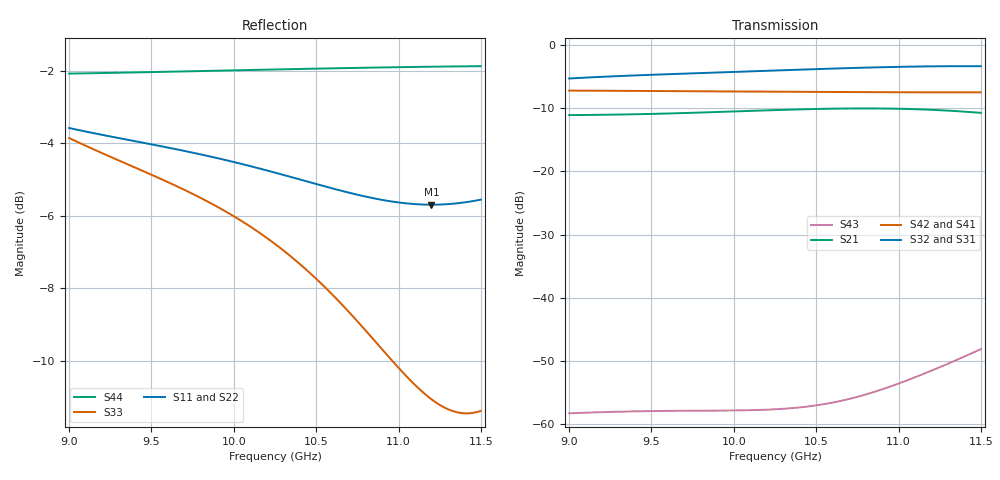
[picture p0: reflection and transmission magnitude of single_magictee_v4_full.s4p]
! Generated from PyAEDT SolutionData; AEDT ExportNetworkData workaround
# GHz S MA R 50
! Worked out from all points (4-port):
!   101 points, 9 GHz to 11.5 GHz, reference 50 ohm
!   strongest paths, dB at 9 GHz, 9.625 GHz, 10.25 GHz, 10.88 GHz, 11.5 GHz:
!     S32: -5.3, -4.6, -4.0, -3.5, -3.4
!     S31: -5.3, -4.6, -4.0, -3.5, -3.3
!     S42: -7.2, -7.3, -7.4, -7.5, -7.5
!     S41: -7.2, -7.3, -7.4, -7.5, -7.6
!     S21: -11.1, -10.8, -10.3, -10.0, -10.7
!     S43: -58.3, -57.9, -57.7, -54.7, -48.1
!   lowest |S11| = -5.7 dB at 11.2 GHz (marker M1), VSWR 3.16, Z = 16.6 + j10.6 ohm
!   |S11| at or under -10 dB: nowhere
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9  0.6622 30.2  0.2789 -76.3  0.5415 -2.2  0.4365 30.7
   0.2789 -76.3  0.661 30.0  0.5435 -2.2  0.4358 -149.2
   0.5415 -2.2  0.5435 -2.2  0.6414 170.2  0.001217 107.5
   0.4365 30.7  0.4358 -149.2  0.001217 107.5  0.7871 -168.5
9.4  0.6351 -17.3  0.2833 -130.6  0.5732 -73.1  0.4335 -12.4
     0.2833 -130.6  0.6337 -17.5  0.5747 -73.0  0.4334 167.6
     0.5732 -73.1  0.5747 -73.0  0.5841 77.8  0.001261 45.5
     0.4335 -12.4  0.4334 167.6  0.001261 45.5  0.7901 153.4
9.725  0.614 -54.6  0.2903 -172.9  0.5943 -128.5  0.4307 -46.3
       0.2903 -172.9  0.6126 -54.8  0.5954 -128.4  0.4312 133.7
       0.5943 -128.5  0.5954 -128.4  0.5407 6.0  0.001276 -2.2
       0.4307 -46.3  0.4312 133.7  0.001276 -2.2  0.7928 123.2
10.05  0.5906 -90.8  0.2997 145.6  0.6152 177.4  0.4278 -79.5
       0.2997 145.6  0.5892 -90.9  0.6157 177.5  0.4288 100.6
       0.6152 177.4  0.6157 177.5  0.4924 -63.8  0.001285 -46.1
       0.4278 -79.5  0.4288 100.6  0.001285 -46.1  0.7957 93.7
10.625  0.5447 -151.4  0.3138 72.5  0.653 83.1  0.4225 -136.5
        0.3138 72.5  0.5433 -151.1  0.6525 83.2  0.425 43.6
        0.653 83.1  0.6525 83.2  0.3846 171.9  0.001503 -111.9
        0.4225 -136.5  0.425 43.6  0.001503 -111.9  0.8005 42.6
11.2  0.5191 153.3  0.3072 0.2  0.6796 -11.9  0.4175 167.8
      0.3072 0.2  0.517 153.9  0.6781 -11.6  0.4225 -12.0
      0.6796 -11.9  0.6781 -11.6  0.2798 32.5  0.00265 -178.9
      0.4175 167.8  0.4225 -12.0  0.00265 -178.9  0.8045 -7.6
11.5  0.5275 124.8  0.2906 -35.4  0.6819 -62.4  0.415 139.2
      0.2906 -35.4  0.5244 125.6  0.6799 -62.0  0.4223 -40.7
      0.6819 -62.4  0.6799 -62.0  0.2697 -48.6  0.003924 139.4
      0.415 139.2  0.4223 -40.7  0.003924 139.4  0.8059 -33.6
